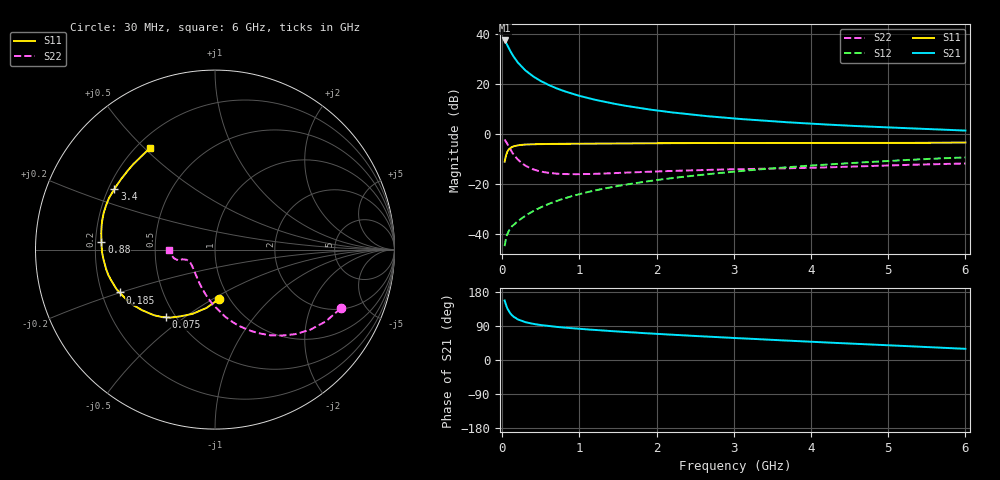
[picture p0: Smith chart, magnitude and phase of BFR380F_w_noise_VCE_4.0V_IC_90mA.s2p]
! Infineon Technologies  Discrete & RF Semiconductors
! BFR380F
! VCE =  4.0 V,  IC =  90 mA
! Common Emitter S-Parameters:  Nov 2015
# GHz  S  MA  R  50
!  f  S11  S21  S12  S22
! GHz  MAG  ANG  MAG  ANG  MAG  ANG  MAG  ANG
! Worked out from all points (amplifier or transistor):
!   206 points, 30 MHz to 6 GHz, reference 50 ohm
!   highest |S21| = 37.5 dB at 30 MHz (marker M1)
!   |S21| within 3 dB of that: start of sweep to 82.74 MHz
!   unconditionally stable (mu >= 1): 564.3 MHz to 4.749 GHz
!   at 200 MHz: K = 0.76, MSG = 31.9 dB, |S12| = -35.0 dB
!   at 1.56 GHz: K = 1.06, MAG = 14.5 dB, |S12| = -20.6 dB
!   at 6 GHz: K = 0.98, MSG = 5.4 dB, |S12| = -9.4 dB
!   lowest NFmin = 2.09 dB at 450 MHz
!   S11 on the Smith chart (normalised r, x): 30 MHz: 0.90, -0.53; 75 MHz: 0.44, -0.43; 185 MHz: 0.28, -0.20; 880 MHz: 0.22, +0.03; 3.4 GHz: 0.22, +0.26; 6 GHz: 0.25, +0.52
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0.03  0.2761 -85.3  74.68 157.0  0.0056 75.2  0.7731 -25.1
0.04  0.3284 -98.3  70.76 150.4  0.0069 71.0  0.7353 -33.0
0.05  0.3788 -109.2  66.6 144.0  0.0083 68.4  0.6935 -40.1
0.065  0.4353 -120.4  59.86 136.7  0.0097 63.6  0.6274 -49.2
0.075  0.4658 -126.0  55.82 132.5  0.0105 62.1  0.5868 -54.6
0.1  0.5131 -136.9  46.94 124.1  0.0124 59.3  0.4991 -65.7
0.12  0.5395 -143.4  41.31 119.2  0.0136 58.5  0.4432 -72.8
0.15  0.5662 -150.3  34.73 113.6  0.0151 58.6  0.3788 -81.3
0.185  0.5824 -155.8  29.36 109.5  0.0169 59.8  0.327 -88.4
0.2  0.591 -158.1  27.11 107.2  0.0177 60.2  0.3067 -92.2
0.26  0.6041 -163.8  21.51 102.4  0.0207 62.7  0.2545 -102.0
0.3  0.6116 -166.8  18.71 99.8  0.0228 64.3  0.2303 -107.8
0.4  0.6188 -171.9  14.21 95.4  0.0282 67.5  0.1946 -119.1
0.6  0.6289 -178.2  9.568 89.6  0.0393 71.2  0.1651 -134.7
0.88  0.6342 176.3  6.573 84.3  0.0552 73.4  0.1556 -147.2
1.04  0.6372 173.7  5.574 81.7  0.0643 74.0  0.1558 -151.8
2.02  0.6529 162.0  2.922 68.8  0.1196 72.9  0.1766 -161.6
3.1  0.6553 151.9  1.98 57.2  0.1804 69.3  0.1961 -163.3
3.4  0.6543 149.0  1.831 54.1  0.1977 68.1  0.2001 -163.1
4.1  0.6541 142.1  1.569 47.1  0.2371 64.7  0.2105 -163.6
5.1  0.6588 132.7  1.327 37.9  0.2919 59.6  0.236 -169.1
6  0.6713 122.9  1.165 29.5  0.3381 54.0  0.2549 -179.7
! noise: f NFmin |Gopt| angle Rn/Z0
0.45  2.09  0.53  -173  0.08
0.9  2.16  0.56  -169  0.08
1.8  2.62  0.61  -157  0.14
1.9  2.77  0.62  -157  0.14
2.4  2.91  0.63  -148  0.23
3.5  3.85  0.64  -137  0.48
